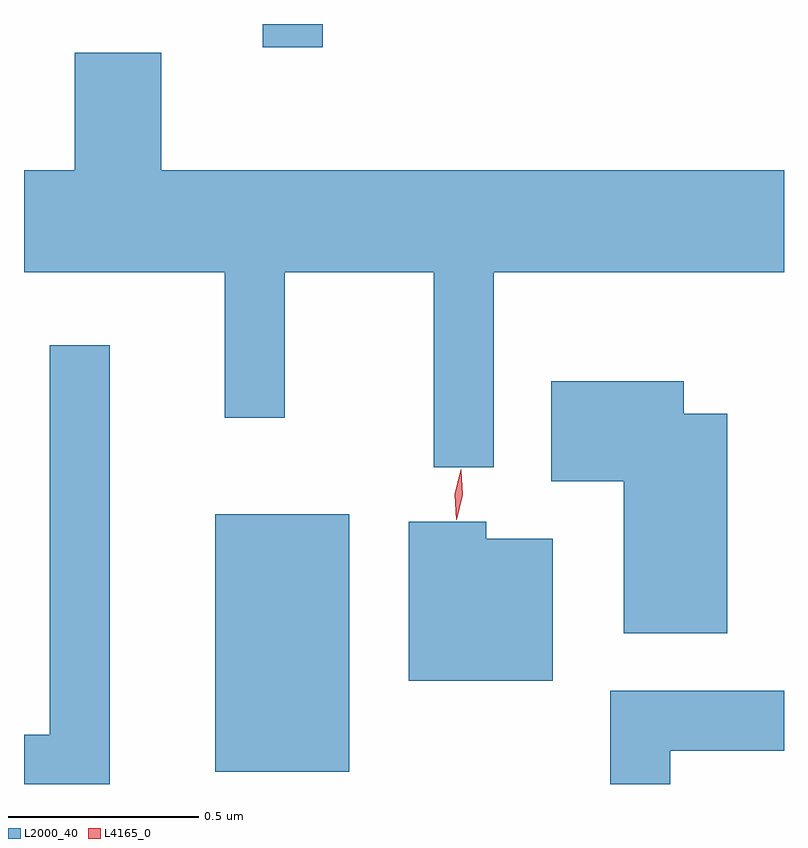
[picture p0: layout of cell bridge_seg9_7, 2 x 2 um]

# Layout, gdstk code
import gdstk
lib = gdstk.Library(unit=1e-6, precision=1e-09)
def R(c, l, rs):  # rectangles x0, y0, x1, y1
    for r in rs: c.add(gdstk.rectangle(r[:2], r[2:], *l))
def P(c, l, *ps):  # polygons
    for p in ps: c.add(gdstk.Polygon(p, *l))
L2000_40 = (2000, 40)
L4165_0 = (4165, 0)

bridge_seg9_7 = lib.new_cell('bridge_seg9_7')
R(bridge_seg9_7, L2000_40, [(1708.841,2030.461,1709.194,2031.139), (1708.966,2032.368,1709.124,2032.429)])
P(bridge_seg9_7, L2000_40, [(1709.574,2031.776),(1710.338,2031.776),(1710.338,2032.044),(1708.699,2032.044),(1708.699,2032.354),(1708.471,2032.354),(1708.471,2032.044),(1708.338,2032.044),(1708.338,2031.776),(1708.866,2031.776),(1708.866,2031.393),(1709.024,2031.393),(1709.024,2031.776),(1709.416,2031.776),(1709.416,2031.263),(1709.574,2031.263)],
  [(1708.564,2031.583),(1708.406,2031.583),(1708.406,2030.559),(1708.338,2030.559),(1708.338,2030.429),(1708.564,2030.429)],
  [(1710.189,2031.404),(1710.074,2031.404),(1710.074,2031.489),(1709.726,2031.489),(1709.726,2031.226),(1709.916,2031.226),(1709.916,2030.826),(1710.189,2030.826)],
  [(1709.729,2031.074),(1709.554,2031.074),(1709.554,2031.119),(1709.351,2031.119),(1709.351,2030.701),(1709.729,2030.701)],
  [(1710.039,2030.516),(1710.338,2030.516),(1710.338,2030.674),(1709.881,2030.674),(1709.881,2030.429),(1710.039,2030.429)])
P(bridge_seg9_7, L4165_0, [(1709.476,2031.124),(1709.476,2031.125),(1709.472,2031.192),(1709.487,2031.256),(1709.487,2031.257),(1709.488,2031.256),(1709.492,2031.19),(1709.477,2031.125)])

lib.write_gds('bridge_seg9_7.gds')
